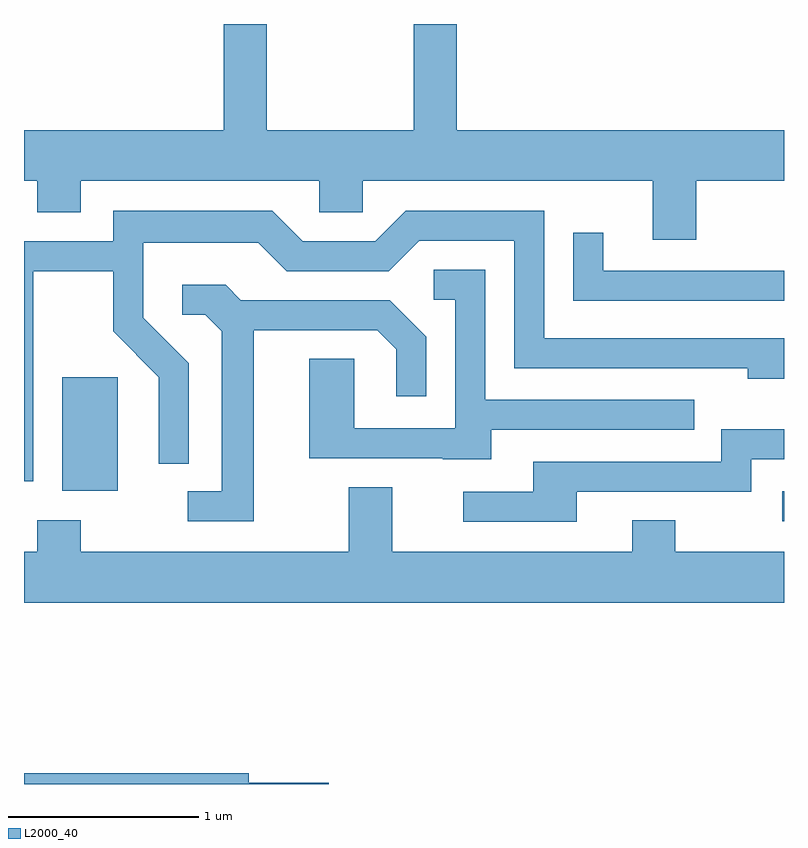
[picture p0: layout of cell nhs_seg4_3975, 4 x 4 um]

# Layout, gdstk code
import gdstk
lib = gdstk.Library(unit=1e-6, precision=1e-09)
def R(c, l, rs):  # rectangles x0, y0, x1, y1
    for r in rs: c.add(gdstk.rectangle(r[:2], r[2:], *l))
def P(c, l, *ps):  # polygons
    for p in ps: c.add(gdstk.Polygon(p, *l))
L2000_40 = (2000, 40)

nhs_seg4_3975 = lib.new_cell('nhs_seg4_3975')
R(nhs_seg4_3975, L2000_40, [(305.603,1317.366,305.611,1317.524), (301.811,1317.526,302.104,1318.124)])
P(nhs_seg4_3975, L2000_40, [(305.149,1319.156),(305.611,1319.156),(305.611,1319.424),(303.889,1319.424),(303.889,1319.982),(303.661,1319.982),(303.661,1319.424),(302.889,1319.424),(302.889,1319.982),(302.661,1319.982),(302.661,1319.424),(301.611,1319.424),(301.611,1319.156),(301.681,1319.156),(301.681,1318.991),(301.909,1318.991),(301.909,1319.156),(303.166,1319.156),(303.166,1318.991),(303.394,1318.991),(303.394,1319.156),(304.921,1319.156),(304.921,1318.846),(305.149,1318.846)],
  [(301.659,1318.681),(302.081,1318.681),(302.081,1318.364),(302.321,1318.124),(302.321,1317.668),(302.479,1317.668),(302.479,1318.197),(302.239,1318.437),(302.239,1318.831),(302.844,1318.831),(302.994,1318.681),(303.532,1318.681),(303.692,1318.841),(304.191,1318.841),(304.191,1318.171),(305.421,1318.171),(305.421,1318.116),(305.611,1318.116),(305.611,1318.329),(304.349,1318.329),(304.349,1318.999),(303.619,1318.999),(303.459,1318.839),(303.077,1318.839),(302.917,1318.999),(302.081,1318.999),(302.081,1318.839),(301.611,1318.839),(301.611,1317.576),(301.659,1317.576)],
  [(305.611,1318.684),(304.659,1318.684),(304.659,1318.883),(304.501,1318.883),(304.501,1318.526),(305.611,1318.526)],
  [(304.069,1317.846),(305.138,1317.846),(305.138,1318.004),(304.039,1318.004),(304.039,1318.689),(303.768,1318.689),(303.768,1318.531),(303.881,1318.531),(303.881,1317.854),(303.349,1317.854),(303.349,1318.219),(303.111,1318.219),(303.111,1317.696),(303.815,1317.696),(303.815,1317.691),(304.069,1317.691)],
  [(302.819,1318.371),(303.469,1318.371),(303.571,1318.269),(303.571,1318.023),(303.729,1318.023),(303.729,1318.337),(303.537,1318.529),(302.752,1318.529),(302.672,1318.609),(302.443,1318.609),(302.443,1318.451),(302.564,1318.451),(302.651,1318.364),(302.651,1317.524),(302.473,1317.524),(302.473,1317.366),(302.819,1317.366)],
  [(304.519,1317.521),(305.439,1317.521),(305.439,1317.691),(305.611,1317.691),(305.611,1317.849),(305.281,1317.849),(305.281,1317.679),(304.291,1317.679),(304.291,1317.519),(303.923,1317.519),(303.923,1317.361),(304.519,1317.361)],
  [(305.611,1317.204),(305.039,1317.204),(305.039,1317.369),(304.811,1317.369),(304.811,1317.204),(303.549,1317.204),(303.549,1317.544),(303.321,1317.544),(303.321,1317.204),(301.909,1317.204),(301.909,1317.369),(301.681,1317.369),(301.681,1317.204),(301.611,1317.204),(301.611,1316.936),(305.611,1316.936)],
  [(303.214,1315.989),(302.794,1315.989),(302.794,1316.039),(301.611,1316.039),(301.611,1315.982),(303.214,1315.982)])

lib.write_gds('nhs_seg4_3975.gds')
